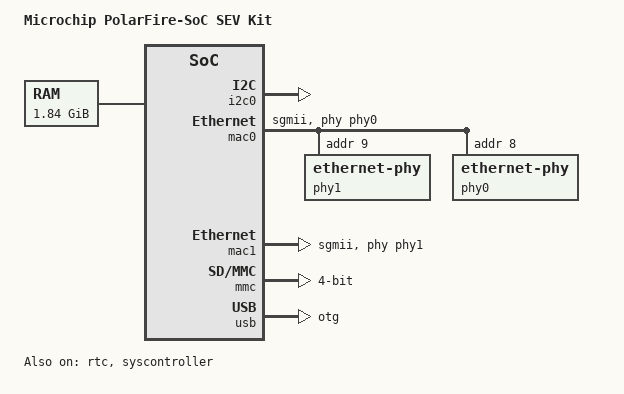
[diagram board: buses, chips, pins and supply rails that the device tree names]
// SPDX-License-Identifier: (GPL-2.0 OR MIT)
/* Copyright (c) 2022 Microchip Technology Inc */

/dts-v1/;

#include "mpfs.dtsi"
#include "mpfs-sev-kit-fabric.dtsi"

/ {
	#address-cells = <2>;
	#size-cells = <2>;
	model = "Microchip PolarFire-SoC SEV Kit";
	compatible = "microchip,mpfs-sev-kit", "microchip,mpfs";

	aliases {
		ethernet0 = &mac1;
		serial0 = &mmuart0;
		serial1 = &mmuart1;
		serial2 = &mmuart2;
		serial3 = &mmuart3;
		serial4 = &mmuart4;
	};

	chosen {
		stdout-path = "serial1:115200n8";
	};

	reserved-memory {
		#address-cells = <2>;
		#size-cells = <2>;
		ranges;

		fabricbuf0ddrc: buffer@80000000 {
			compatible = "shared-dma-pool";
			reg = <0x0 0x80000000 0x0 0x2000000>;
		};

		fabricbuf1ddrnc: buffer@c4000000 {
			compatible = "shared-dma-pool";
			reg = <0x0 0xc4000000 0x0 0x4000000>;
		};

		fabricbuf2ddrncwcb: buffer@d4000000 {
			compatible = "shared-dma-pool";
			reg = <0x0 0xd4000000 0x0 0x4000000>;
		};
	};

	ddrc_cache: memory@1000000000 {
		device_type = "memory";
		reg = <0x10 0x0 0x0 0x76000000>;
	};
};

&i2c0 {
	status = "okay";
};

&irqmux {
	interrupt-map = <0 &plic 13>, <1 &plic 14>, <2 &plic 15>,
			<3 &plic 16>, <4 &plic 17>, <5 &plic 18>,
			<6 &plic 19>, <7 &plic 20>, <8 &plic 21>,
			<9 &plic 22>, <10 &plic 23>, <11 &plic 24>,
			<12 &plic 25>, <13 &plic 26>,

			<32 &plic 27>, <33 &plic 28>, <34 &plic 29>,
			<35 &plic 30>, <36 &plic 31>, <37 &plic 32>,
			<38 &plic 33>, <39 &plic 34>, <40 &plic 35>,
			<41 &plic 36>, <42 &plic 37>, <43 &plic 38>,
			<44 &plic 39>, <45 &plic 40>, <46 &plic 41>,
			<47 &plic 42>, <48 &plic 43>, <49 &plic 44>,
			<50 &plic 45>, <51 &plic 46>, <52 &plic 47>,
			<53 &plic 48>, <54 &plic 49>, <55 &plic 50>,

			<64 &plic 53>, <65 &plic 53>, <66 &plic 53>,
			<67 &plic 53>, <68 &plic 53>, <69 &plic 53>,
			<70 &plic 53>, <71 &plic 53>, <72 &plic 53>,
			<73 &plic 53>, <74 &plic 53>, <75 &plic 53>,
			<76 &plic 53>, <77 &plic 53>, <78 &plic 53>,
			<79 &plic 53>, <80 &plic 53>, <81 &plic 53>,
			<82 &plic 53>, <83 &plic 53>, <84 &plic 53>,
			<85 &plic 53>, <86 &plic 53>, <87 &plic 53>,
			<88 &plic 53>, <89 &plic 53>, <90 &plic 53>,
			<91 &plic 53>, <92 &plic 53>, <93 &plic 53>,
			<94 &plic 53>, <95 &plic 53>;
};

&gpio2 {
	status = "okay";
};

&mac0 {
	status = "okay";
	phy-mode = "sgmii";
	phy-handle = <&phy0>;
	phy1: ethernet-phy@9 {
		reg = <9>;
	};
	phy0: ethernet-phy@8 {
		reg = <8>;
	};
};

&mac1 {
	status = "okay";
	phy-mode = "sgmii";
	phy-handle = <&phy1>;
};

&mbox {
	status = "okay";
};

&mmc {
	status = "okay";
	bus-width = <4>;
	disable-wp;
	cap-sd-highspeed;
	cap-mmc-highspeed;
	mmc-ddr-1_8v;
	mmc-hs200-1_8v;
	sd-uhs-sdr12;
	sd-uhs-sdr25;
	sd-uhs-sdr50;
	sd-uhs-sdr104;
};

&mmuart1 {
	status = "okay";
};

&mmuart2 {
	status = "okay";
};

&mmuart3 {
	status = "okay";
};

&mmuart4 {
	status = "okay";
};

&refclk {
	clock-frequency = <125000000>;
};

&rtc {
	status = "okay";
};

&syscontroller {
	status = "okay";
};

&usb {
	status = "okay";
	dr_mode = "otg";
};
